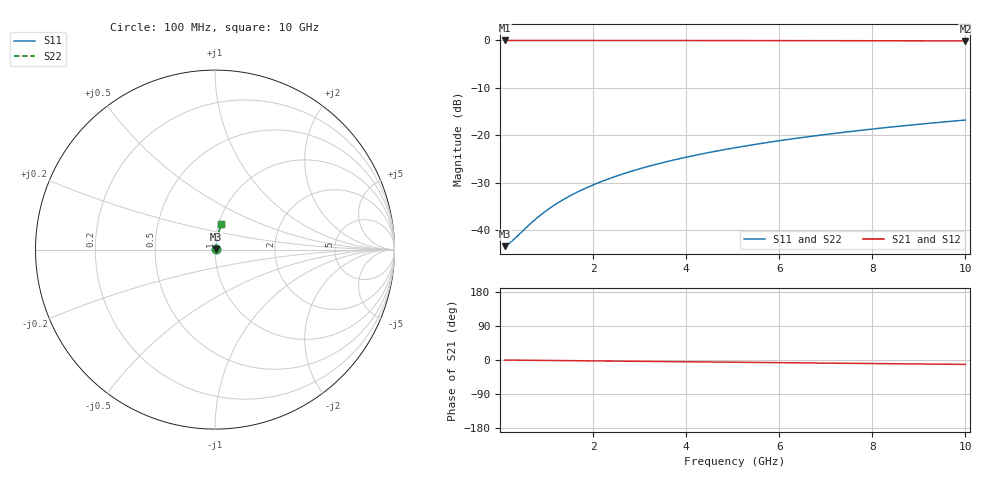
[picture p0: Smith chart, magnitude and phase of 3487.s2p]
# Hz S RI R 50.00
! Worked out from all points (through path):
!   100 points, 100 MHz to 10 GHz, reference 50 ohm
!   highest |S21| = -0.06 dB at 100 MHz (marker M1); lowest = -0.2 dB at 10 GHz (marker M2)
!   group delay of S21, straight-line fit = 3.23 ps
!   lowest |S11| = -43.3 dB at 100 MHz (marker M3), VSWR 1.01, Z = 50.7 + j0.147 ohm
!   |S11| at or under -10 dB: start of sweep to end of sweep
!   |S22| runs from -43.3 to -16.8 dB; largest |S21 - S12| = 0
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1e8  0.00665 0.00145  0.9933 -0.00202  0.9933 -0.00202  0.00665 0.00145
2e8  0.0067 0.00289  0.9933 -0.00404  0.9933 -0.00404  0.0067 0.00289
3e8  0.00675 0.00434  0.9932 -0.00607  0.9932 -0.00607  0.00675 0.00434
7e8  0.00695 0.0101  0.993 -0.0142  0.993 -0.0142  0.00695 0.0101
8e8  0.00701 0.0116  0.993 -0.0162  0.993 -0.0162  0.00701 0.0116
1e9  0.00714 0.0145  0.9928 -0.0202  0.9928 -0.0202  0.00714 0.0145
1.2e9  0.0073 0.0173  0.9927 -0.0243  0.9927 -0.0243  0.0073 0.0173
1.4e9  0.00747 0.0202  0.9925 -0.0283  0.9925 -0.0283  0.00747 0.0202
1.6e9  0.00767 0.0231  0.9923 -0.0323  0.9923 -0.0323  0.00767 0.0231
1.8e9  0.00789 0.026  0.992 -0.0364  0.992 -0.0364  0.00789 0.026
2.1e9  0.00826 0.0303  0.9917 -0.0424  0.9917 -0.0424  0.00826 0.0303
2.5e9  0.00883 0.0361  0.9911 -0.0505  0.9911 -0.0505  0.00883 0.0361
2.9e9  0.00949 0.0418  0.9903 -0.0585  0.9903 -0.0585  0.00949 0.0418
3.4e9  0.0105 0.0489  0.9893 -0.0686  0.9893 -0.0686  0.0105 0.0489
3.8e9  0.0113 0.0547  0.9884 -0.0766  0.9884 -0.0766  0.0113 0.0547
4.2e9  0.0123 0.0603  0.9874 -0.0846  0.9874 -0.0846  0.0123 0.0603
5.1e9  0.0148 0.0731  0.9848 -0.1025  0.9848 -0.1025  0.0148 0.0731
5.9e9  0.0174 0.0843  0.982 -0.1184  0.982 -0.1184  0.0174 0.0843
6.7e9  0.0203 0.0954  0.9789 -0.1341  0.9789 -0.1341  0.0203 0.0954
7.5e9  0.0236 0.1064  0.9754 -0.1497  0.9754 -0.1497  0.0236 0.1064
8.4e9  0.0278 0.1186  0.971 -0.1672  0.971 -0.1672  0.0278 0.1186
1e10  0.0362 0.1399  0.9621 -0.1978  0.9621 -0.1978  0.0362 0.1399
